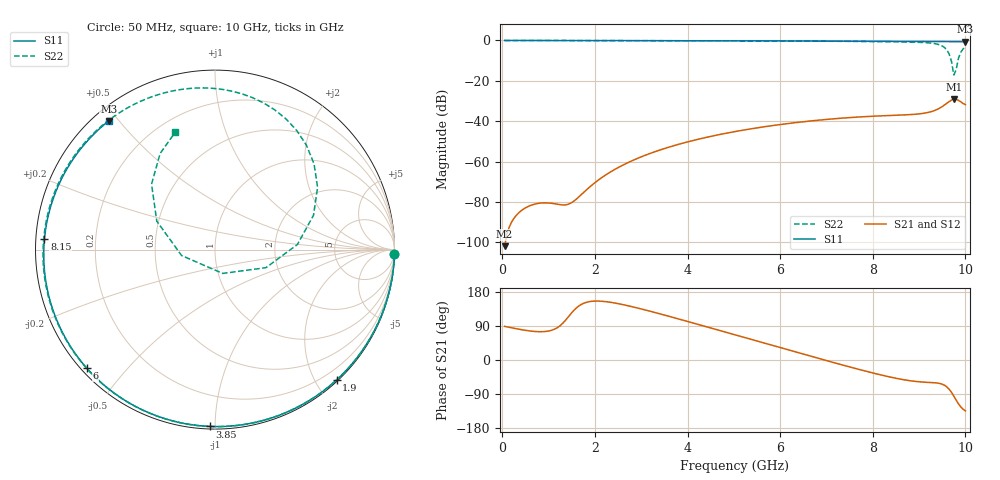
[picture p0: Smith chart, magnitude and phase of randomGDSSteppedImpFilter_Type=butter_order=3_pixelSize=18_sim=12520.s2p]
! freq	dB(S11)	phase(S11)	dB(S12)	phase(S12)
!  dB(S21)	phase(S21)	dB(S22)	phase(S22)
!S-par simulation data
#  GHz  S  DB  R 50
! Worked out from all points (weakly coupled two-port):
!   200 points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, 50 MHz to 10 GHz, reference 50 ohm
!   highest |S21| = -29.19 dB at 9.75 GHz (marker M1); lowest = -101.9 dB at 50 MHz (marker M2)
!   lowest |S11| = -0.6 dB at 10 GHz (marker M3), VSWR 27.58, Z = 2.21 + j23.5 ohm
!   |S11| at or under -10 dB: nowhere
!   |S22| runs from -17.1 to 0.0 dB; largest |S21 - S12| = 0
!   S11 on the Smith chart (normalised r, x): 50 MHz: 0, -90; 1.9 GHz: 0.02, -2.30; 3.85 GHz: 0.01, -0.97; 6 GHz: 0.02, -0.39; 8.15 GHz: 0.02, +0.03; 10 GHz: 0.04, +0.47
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0.05  -0.00 -1.3  -101.93 88.7  -101.93 88.7  -0.00 -1.3
1.5  -0.05 -37.3  -80.32 124.8  -80.32 124.8  -0.05 -39.4
1.75  -0.06 -43.4  -75.44 149.3  -75.44 149.3  -0.06 -45.9
1.9  -0.06 -47.0  -72.35 154.4  -72.35 154.4  -0.06 -49.7
2.55  -0.08 -62.3  -62.39 147.5  -62.39 147.5  -0.08 -66.2
3.4  -0.11 -81.7  -54.31 122.0  -54.31 122.0  -0.12 -87.4
3.85  -0.12 -91.6  -51.19 106.9  -51.19 106.9  -0.13 -98.5
5.05  -0.18 -117.3  -45.04 65.5  -45.04 65.5  -0.20 -128.4
6  -0.24 -137.2  -41.67 32.6  -41.67 32.6  -0.28 -153.5
6.7  -0.29 -151.9  -39.79 8.6  -39.79 8.6  -0.35 -173.6
7.45  -0.36 -168.0  -38.30 -16.7  -38.30 -16.7  -0.45 161.9
8.15  -0.43 176.3  -37.38 -38.7  -37.38 -38.7  -0.57 134.8
8.35  -0.45 171.7  -37.19 -44.3  -37.19 -44.3  -0.62 126.0
8.9  -0.51 158.5  -36.60 -56.2  -36.60 -56.2  -0.85 97.2
9.25  -0.55 149.6  -35.36 -59.4  -35.36 -59.4  -1.30 71.6
9.45  -0.57 144.4  -33.46 -62.1  -33.46 -62.1  -2.23 48.9
9.6  -0.59 140.5  -31.11 -71.0  -31.11 -71.0  -4.71 19.2
9.7  -0.60 137.8  -29.58 -85.3  -29.58 -85.3  -10.43 -19.6
9.75  -0.61 136.4  -29.19 -95.2  -29.19 -95.2  -17.10 -72.0
9.8  -0.61 135.1  -29.23 -105.8  -29.23 -105.8  -14.47 -169.9
9.85  -0.62 133.7  -29.67 -115.5  -29.67 -115.5  -8.85 154.0
10  -0.63 129.5  -31.76 -134.3  -31.76 -134.3  -3.20 108.6
